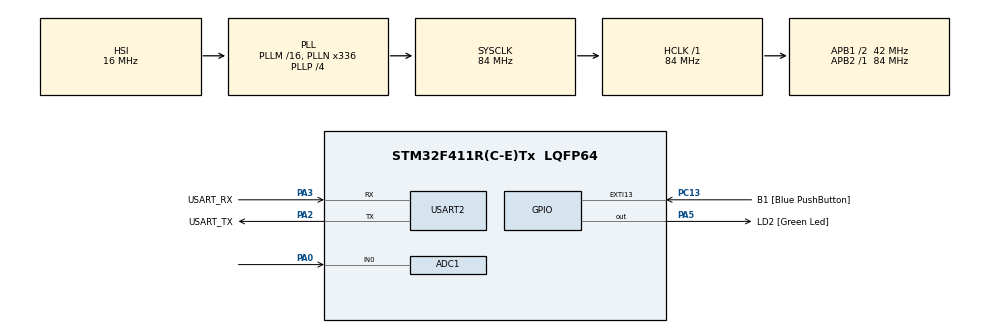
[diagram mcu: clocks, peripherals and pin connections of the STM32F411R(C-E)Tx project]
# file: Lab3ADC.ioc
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ADC1.Channel-0\#ChannelRegularConversion=ADC_CHANNEL_0
ADC1.NbrOfConversionFlag=1
ADC1.Rank-0\#ChannelRegularConversion=1
ADC1.SamplingTime-0\#ChannelRegularConversion=ADC_SAMPLETIME_3CYCLES
ADC1.master=1
Mcu.Family=STM32F4
Mcu.Name=STM32F411R(C-E)Tx
Mcu.Package=LQFP64
NVIC.PriorityGroup=NVIC_PRIORITYGROUP_0
PA0-WKUP.Signal=ADCx_IN0
PA13.GPIO_Label=TMS
PA13.Mode=Serial_Wire
PA13.Signal=SYS_JTMS-SWDIO
PA14.GPIO_Label=TCK
PA14.Mode=Serial_Wire
PA14.Signal=SYS_JTCK-SWCLK
PA2.GPIO_Label=USART_TX
PA2.Mode=Asynchronous
PA2.Signal=USART2_TX
PA3.GPIO_Label=USART_RX
PA3.Mode=Asynchronous
PA3.Signal=USART2_RX
PA5.GPIO_Label=LD2 [Green Led]
PA5.Signal=GPIO_Output
PB3.GPIO_Label=SWO
PB3.Signal=SYS_JTDO-SWO
PC13-ANTI_TAMP.GPIO_Label=B1 [Blue PushButton]
PC13-ANTI_TAMP.GPIO_ModeDefaultEXTI=GPIO_MODE_IT_FALLING
PC13-ANTI_TAMP.Signal=GPXTI13
PC14-OSC32_IN.Mode=LSE-External-Oscillator
PC14-OSC32_IN.Signal=RCC_OSC32_IN
PC15-OSC32_OUT.Mode=LSE-External-Oscillator
PC15-OSC32_OUT.Signal=RCC_OSC32_OUT
PH0\ -\ OSC_IN.Mode=HSE-External-Clock-Source
PH0\ -\ OSC_IN.Signal=RCC_OSC_IN
PH1\ -\ OSC_OUT.Mode=HSE-External-Clock-Source
PH1\ -\ OSC_OUT.Signal=RCC_OSC_OUT
ProjectManager.HeapSize=0x200
ProjectManager.StackSize=0x400
ProjectManager.TargetToolchain=STM32CubeIDE
RCC.48MHZClocksFreq_Value=84000000
RCC.AHBFreq_Value=84000000
RCC.APB1CLKDivider=RCC_HCLK_DIV2
RCC.APB1Freq_Value=42000000
RCC.APB1TimFreq_Value=84000000
RCC.APB2Freq_Value=84000000
RCC.APB2TimFreq_Value=84000000
RCC.CortexFreq_Value=84000000
RCC.FLatency-AdvancedSettings=FLASH_LATENCY_2
RCC.HCLKFreq_Value=84000000
RCC.HSE_VALUE=8000000
RCC.HSI_VALUE=16000000
RCC.PLLN=336
RCC.PLLP=RCC_PLLP_DIV4
RCC.SYSCLKFreq_VALUE=84000000
RCC.SYSCLKSource=RCC_SYSCLKSOURCE_PLLCLK
RCC.VCOOutputFreq_Value=336000000
SH.ADCx_IN0.0=ADC1_IN0,IN0
USART2.VirtualMode=VM_ASYNC
VP_ADC1_TempSens_Input.Mode=IN-TempSens
board=NUCLEO-F411RE

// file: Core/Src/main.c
/* USER CODE BEGIN Header */

/**

 ******************************************************************************

 * @file           : main.c

 * @brief          : Main program body

 ******************************************************************************

 * @attention

 *

 * <h2><center>&copy; Copyright (c) 2021 STMicroelectronics.

 * All rights reserved.</center></h2>

 *

 * This software component is licensed by ST under BSD 3-Clause license,

 * the "License"; You may not use this file except in compliance with the

 * License. You may obtain a copy of the License at:

 *                        opensource.org/licenses/BSD-3-Clause

 *

 ******************************************************************************

 */

/* USER CODE END Header */

#include "main.h"

ADC_HandleTypeDef hadc1;

UART_HandleTypeDef huart2;

/* USER CODE BEGIN PV */
uint16_t adcdata[2] = { 0 };
double ADCOutputConverted=0;
uint16_t ADCMode=0;
uint32_t Buttontimestamp=0;
GPIO_PinState switchstate[2];
typedef struct {

	ADC_ChannelConfTypeDef Config;

	uint32_t data;

} ADCStructure;

ADCStructure ADCChannel[2] = { 0 };

/* USER CODE END PV */

void SystemClock_Config(void);

static void MX_GPIO_Init(void);

static void MX_USART2_UART_Init(void);

static void MX_ADC1_Init(void);

/* USER CODE BEGIN PFP */

void ADCPollingMethodInit();

void ADCPollingMethodUpdate();

void Button();

/* USER CODE END PFP */

int main(void) {

	/* MCU Configuration--------------------------------------------------------*/

	/* Reset of all peripherals, Initializes the Flash interface and the Systick. */

	HAL_Init();

	/* Configure the system clock */

	SystemClock_Config();

	/* Initialize all configured peripherals */

	MX_GPIO_Init();

	MX_USART2_UART_Init();

	MX_ADC1_Init();

	/* USER CODE BEGIN 2 */

	ADCPollingMethodInit();

	/* USER CODE END 2 */

	/* Infinite loop */

	while (1) {

		/* USER CODE BEGIN 3 */

		ADCPollingMethodUpdate();
		Button();
		if(ADCMode==0)
		{
            float a = 1000;
            float x=3.3;
            float y= 4096;
			ADCOutputConverted=((x/y)*ADCChannel[0].data)*a;
		}
		else
		{
			ADCOutputConverted=(((ADCChannel[1].data*(3.3/4096))-0.76)/0.0025)+25;
		}

	}

	/* USER CODE END 3 */

}

void SystemClock_Config(void) {

	RCC_OscInitTypeDef RCC_OscInitStruct = { 0 };

	RCC_ClkInitTypeDef RCC_ClkInitStruct = { 0 };

	/** Configure the main internal regulator output voltage

	 */

	__HAL_RCC_PWR_CLK_ENABLE();

	__HAL_PWR_VOLTAGESCALING_CONFIG(PWR_REGULATOR_VOLTAGE_SCALE1);

	/** Initializes the RCC Oscillators according to the specified parameters

	 * in the RCC_OscInitTypeDef structure.

	 */

	RCC_OscInitStruct.OscillatorType = RCC_OSCILLATORTYPE_HSI;

	RCC_OscInitStruct.HSIState = RCC_HSI_ON;

	RCC_OscInitStruct.HSICalibrationValue = RCC_HSICALIBRATION_DEFAULT;

	RCC_OscInitStruct.PLL.PLLState = RCC_PLL_ON;

	RCC_OscInitStruct.PLL.PLLSource = RCC_PLLSOURCE_HSI;

	RCC_OscInitStruct.PLL.PLLM = 16;

	RCC_OscInitStruct.PLL.PLLN = 336;

	RCC_OscInitStruct.PLL.PLLP = RCC_PLLP_DIV4;

	RCC_OscInitStruct.PLL.PLLQ = 4;

	if (HAL_RCC_OscConfig(&RCC_OscInitStruct) != HAL_OK) {

		Error_Handler();

	}

	/** Initializes the CPU, AHB and APB buses clocks

	 */

	RCC_ClkInitStruct.ClockType = RCC_CLOCKTYPE_HCLK | RCC_CLOCKTYPE_SYSCLK

			| RCC_CLOCKTYPE_PCLK1 | RCC_CLOCKTYPE_PCLK2;

	RCC_ClkInitStruct.SYSCLKSource = RCC_SYSCLKSOURCE_PLLCLK;

	RCC_ClkInitStruct.AHBCLKDivider = RCC_SYSCLK_DIV1;

	RCC_ClkInitStruct.APB1CLKDivider = RCC_HCLK_DIV2;

	RCC_ClkInitStruct.APB2CLKDivider = RCC_HCLK_DIV1;

	if (HAL_RCC_ClockConfig(&RCC_ClkInitStruct, FLASH_LATENCY_2) != HAL_OK) {

		Error_Handler();

	}

}

static void MX_ADC1_Init(void) {

	ADC_ChannelConfTypeDef sConfig = { 0 };

	/** Configure the global features of the ADC (Clock, Resolution, Data Alignment and number of conversion)

	 */

	hadc1.Instance = ADC1;

	hadc1.Init.ClockPrescaler = ADC_CLOCK_SYNC_PCLK_DIV4;

	hadc1.Init.Resolution = ADC_RESOLUTION_12B;

	hadc1.Init.ScanConvMode = DISABLE;

	hadc1.Init.ContinuousConvMode = DISABLE;

	hadc1.Init.DiscontinuousConvMode = DISABLE;

	hadc1.Init.ExternalTrigConvEdge = ADC_EXTERNALTRIGCONVEDGE_NONE;

	hadc1.Init.ExternalTrigConv = ADC_SOFTWARE_START;

	hadc1.Init.DataAlign = ADC_DATAALIGN_RIGHT;

	hadc1.Init.NbrOfConversion = 1;

	hadc1.Init.DMAContinuousRequests = DISABLE;

	hadc1.Init.EOCSelection = ADC_EOC_SINGLE_CONV;

	if (HAL_ADC_Init(&hadc1) != HAL_OK) {

		Error_Handler();

	}

	/** Configure for the selected ADC regular channel its corresponding rank in the sequencer and its sample time.

	 */

	sConfig.Channel = ADC_CHANNEL_0;

	sConfig.Rank = 1;

	sConfig.SamplingTime = ADC_SAMPLETIME_3CYCLES;

	if (HAL_ADC_ConfigChannel(&hadc1, &sConfig) != HAL_OK) {

		Error_Handler();

	}

}

static void MX_USART2_UART_Init(void) {

	huart2.Instance = USART2;

	huart2.Init.BaudRate = 115200;

	huart2.Init.WordLength = UART_WORDLENGTH_8B;

	huart2.Init.StopBits = UART_STOPBITS_1;

	huart2.Init.Parity = UART_PARITY_NONE;

	huart2.Init.Mode = UART_MODE_TX_RX;

	huart2.Init.HwFlowCtl = UART_HWCONTROL_NONE;

	huart2.Init.OverSampling = UART_OVERSAMPLING_16;

	if (HAL_UART_Init(&huart2) != HAL_OK) {

		Error_Handler();

	}

}

static void MX_GPIO_Init(void) {

	GPIO_InitTypeDef GPIO_InitStruct = { 0 };

	/* GPIO Ports Clock Enable */

	__HAL_RCC_GPIOC_CLK_ENABLE();

	__HAL_RCC_GPIOH_CLK_ENABLE();

	__HAL_RCC_GPIOA_CLK_ENABLE();

	__HAL_RCC_GPIOB_CLK_ENABLE();

	/*Configure GPIO pin Output Level */

	HAL_GPIO_WritePin(LD2_GPIO_Port, LD2_Pin, GPIO_PIN_RESET);

	/*Configure GPIO pin : B1_Pin */

	GPIO_InitStruct.Pin = B1_Pin;

	GPIO_InitStruct.Mode = GPIO_MODE_IT_FALLING;

	GPIO_InitStruct.Pull = GPIO_NOPULL;

	HAL_GPIO_Init(B1_GPIO_Port, &GPIO_InitStruct);

	/*Configure GPIO pin : LD2_Pin */

	GPIO_InitStruct.Pin = LD2_Pin;

	GPIO_InitStruct.Mode = GPIO_MODE_OUTPUT_PP;

	GPIO_InitStruct.Pull = GPIO_NOPULL;

	GPIO_InitStruct.Speed = GPIO_SPEED_FREQ_LOW;

	HAL_GPIO_Init(LD2_GPIO_Port, &GPIO_InitStruct);

}

/* USER CODE BEGIN 4 */

void ADCPollingMethodInit() {

	ADCChannel[0].Config.Channel = ADC_CHANNEL_0;

	ADCChannel[0].Config.Rank = 1;

	ADCChannel[0].Config.SamplingTime = ADC_SAMPLETIME_3CYCLES;

	ADCChannel[1].Config.Channel = ADC_CHANNEL_TEMPSENSOR;

	ADCChannel[1].Config.Rank = 1;

	ADCChannel[1].Config.SamplingTime = ADC_SAMPLETIME_3CYCLES;

}

//Polling Method

void ADCPollingMethodUpdate() {

	//Read all 3 Channel

	for (int i = 0; i < 2; i++) {

		HAL_ADC_ConfigChannel(&hadc1, &ADCChannel[i].Config);

		HAL_ADC_Start(&hadc1);

	    if(HAL_ADC_PollForConversion(&hadc1, 10)==HAL_OK)
	    {
		     ADCChannel[i].data = HAL_ADC_GetValue(&hadc1);
	    }
		HAL_ADC_Stop(&hadc1);

	}

}
void Button()
{
	 if(HAL_GetTick()-Buttontimestamp>=100)
		     {
		  	Buttontimestamp=HAL_GetTick();
		  	switchstate[0]= HAL_GPIO_ReadPin(GPIOC, GPIO_PIN_13);
		  	if(switchstate[1] == GPIO_PIN_SET && switchstate[0] ==GPIO_PIN_RESET)
		  	{
		  		if(ADCMode==0)
		  		{
		  			ADCMode=1;
		  		}
		  		else
		  		{
		  			ADCMode=0;
		  		}
		  	}
		  	switchstate[1]=switchstate[0];
               }
}

/* USER CODE END 4 */

void Error_Handler(void) {

	__disable_irq();
	while (1) {
	}

}

/************************ (C) COPYRIGHT STMicroelectronics *****END OF FILE****/
